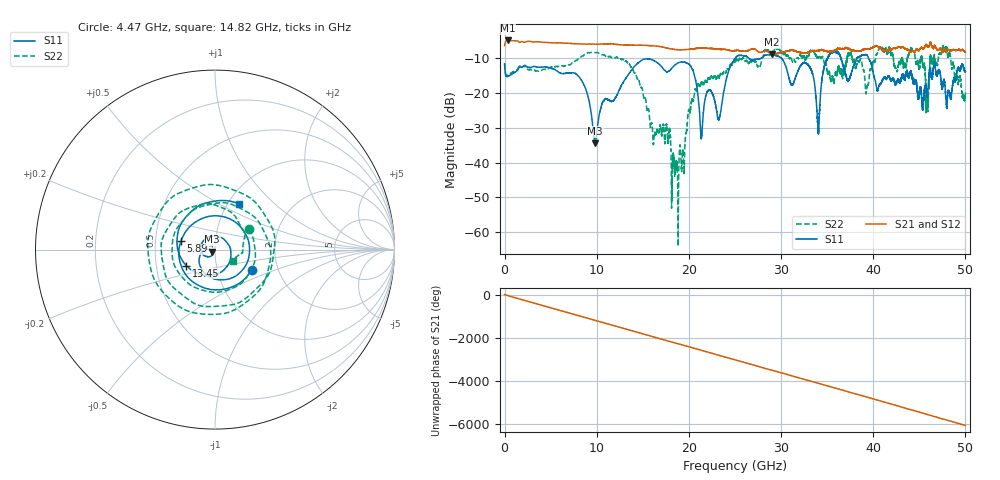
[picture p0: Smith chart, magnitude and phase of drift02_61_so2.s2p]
!Created with skrf (http://scikit-rf.org).
# Hz S RI R 50.0
!freq ReS11 ImS11 ReS21 ImS21 ReS12 ImS12 ReS22 ImS22
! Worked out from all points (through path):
!   10001 points, 300 kHz to 50 GHz, reference 50 ohm
!   highest |S21| = -5.04 dB at 325.3 MHz (marker M1); lowest = -9.0 dB at 28.98 GHz (marker M2)
!   group delay of S21, straight-line fit = 336 ps
!   lowest |S11| = -34.5 dB at 9.84 GHz (marker M3), VSWR 1.04, Z = 48.5 - j1.05 ohm
!   |S11| at or under -10 dB: start of sweep to 25.06 GHz; 29.97 GHz to 35.06 GHz (5.093 GHz wide, 15.7 % of centre); 39.48 GHz to end of sweep (the widest 3 of 9)
!   |S22| runs from -64.0 to -6.5 dB; largest |S21 - S12| = 0.023
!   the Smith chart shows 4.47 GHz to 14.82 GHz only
!   S11 on the Smith chart (normalised r, x): 4.47 GHz: 1.46, -0.35; 5.89 GHz: 0.68, +0.07; 13.45 GHz: 0.71, -0.13; 14.82 GHz: 1.13, +0.63
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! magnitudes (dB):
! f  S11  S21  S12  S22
! 300 kHz  -11.7  -6.5  -6.5  -11.7
! 325.3 MHz  -15.4  -5.0  -5.0  -15.0
! 4.47 GHz  -12.6  -5.6  -5.6  -13.2
! 5.89 GHz  -14.2  -5.7  -5.7  -12.5
! 8.335 GHz  -16.4  -6.0  -6.0  -9.6
! 9.84 GHz  -34.5  -6.1  -6.1  -8.5
! 13.45 GHz  -14.7  -6.4  -6.4  -11.6
! 14.82 GHz  -10.8  -6.4  -6.4  -18.6
! 16.67 GHz  -11.6  -6.7  -6.7  -31.2
! 18.66 GHz  -11.8  -7.7  -7.7  -40.2
! 20.37 GHz  -13.3  -7.5  -7.5  -22.0
! 21.37 GHz  -32.3  -7.2  -7.2  -17.0
! 23.31 GHz  -27.3  -7.5  -7.6  -15.6
! 25 GHz  -10.3  -7.9  -8.0  -11.3
! 28.98 GHz  -9.2  -9.0  -9.0  -8.3
! 33.34 GHz  -13.9  -8.1  -8.2  -8.1
! 34.02 GHz  -31.6  -7.9  -7.9  -10.2
! 35.54 GHz  -8.3  -8.1  -8.1  -15.2
! 41.67 GHz  -15.3  -7.7  -7.8  -7.4
! 45.87 GHz  -20.4  -6.8  -6.9  -22.5
! 47.76 GHz  -17.3  -7.5  -7.5  -7.9
! 50 GHz  -14.0  -8.4  -8.4  -20.3
